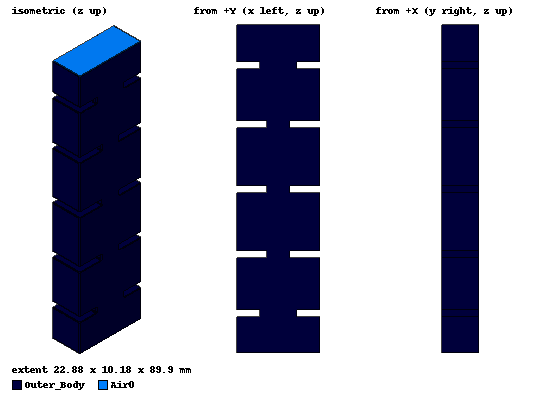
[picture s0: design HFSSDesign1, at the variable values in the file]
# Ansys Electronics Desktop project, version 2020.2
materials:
  vacuum: permittivity=1
  pec: conductivity=1e+30

design HFSSDesign1 (HFSS, DrivenModal, model units mm)
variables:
  a = 22.86mm
  b = 10.16mm
  l0 = 10mm
  l1 = 14.24mm
  l2 = 15.71mm
  l3 = 15.71mm
  l4 = 14.24mm
  l5 = 10mm
  t = 2mm
  th = 0.01mm
  d01 = 10.21mm
  d12 = 6.51mm
  d23 = 6.02mm
  d34 = 6.51mm
  d45 = 10.21mm
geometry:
  Outer_Body [pec] = box(corner=(-a/2-th, -b/2-th, 0mm), size=(a+2*th, b+2*th, l0+l1+l2+l3+l4+l5+5*t))
  Gap0 = box(corner=(-a/2, -b/2, 0mm), size=(a, b, l0))
  Gap1 = box(corner=(-a/2, -b/2, l0+t), size=(a, b, l1))
  Gap2 = box(corner=(-a/2, -b/2, l0+l1+2*t), size=(a, b, l2))
  Gap3 = box(corner=(-a/2, -b/2, l0+l1+l2+3*t), size=(a, b, l3))
  Gap4 = box(corner=(-a/2, -b/2, l0+l1+l2+l3+4*t), size=(a, b, l4))
  Gap5 = box(corner=(-a/2, -b/2, l0+l1+l2+l3+l4+5*t), size=(a, b, l5))
  Iris01 = box(corner=(-d01/2, -b/2, l0), size=(d01, b, t))
  Iris12 = box(corner=(-d12/2, -b/2, l0+l1+t), size=(d12, b, t))
  Iris23 = box(corner=(-d23/2, -b/2, l0+l1+l2+2*t), size=(d23, b, t))
  Iris34 = box(corner=(-d34/2, -b/2, l0+l1+l2+l3+3*t), size=(d34, b, t))
  Iris45 = box(corner=(-d45/2, -b/2, l0+l1+l2+l3+l4+4*t), size=(d45, b, t))
  SideGap01L = box(corner=(-a/2-th, -b/2-th, l0+th), size=((a-d01)/2, b+2*th, t-2*th))
  SideGap12L = box(corner=(-a/2-th, -b/2-th, l0+l1+t+th), size=((a-d12)/2, b+2*th, t-2*th))
  SideGap23L = box(corner=(-a/2-th, -b/2-th, l0+l1+l2+2*t+th), size=((a-d23)/2, b+2*th, t-2*th))
  SideGap34L = box(corner=(-a/2-th, -b/2-th, l0+l1+l2+l3+3*t+th), size=((a-d34)/2, b+2*th, t-2*th))
  SideGap45L = box(corner=(-a/2-th, -b/2-th, l0+l1+l2+l3+l4+4*t+th), size=((a-d45)/2, b+2*th, t-2*th))
  SideGap01R = box(corner=(a/2+th, -b/2-th, l0+th), size=(-(a-d01)/2, b+2*th, t-2*th))
  SideGap12R = box(corner=(a/2+th, -b/2-th, l0+l1+t+th), size=(-(a-d12)/2, b+2*th, t-2*th))
  SideGap23R = box(corner=(a/2+th, -b/2-th, l0+l1+l2+2*t+th), size=(-(a-d23)/2, b+2*th, t-2*th))
  SideGap34R = box(corner=(a/2+th, -b/2-th, l0+l1+l2+l3+3*t+th), size=(-(a-d34)/2, b+2*th, t-2*th))
  SideGap45R = box(corner=(a/2+th, -b/2-th, l0+l1+l2+l3+l4+4*t+th), size=(-(a-d45)/2, b+2*th, t-2*th))
  Outer_Body.subtract(Gap0..Gap5, Iris01, Iris12, Iris23, Iris34, Iris45)
  Outer_Body.subtract(SideGap01L, SideGap01R, SideGap12L, SideGap12R, SideGap23L, SideGap23R, SideGap34L, SideGap34R, SideGap45L, SideGap45R)
  Air0 [vacuum] = box(corner=(-a/2, -b/2, 0mm), size=(a, b, l0))
  Air1 = box(corner=(-a/2, -b/2, l0+t), size=(a, b, l1))
  Air2 = box(corner=(-a/2, -b/2, l0+l1+2*t), size=(a, b, l2))
  Air3 = box(corner=(-a/2, -b/2, l0+l1+l2+3*t), size=(a, b, l3))
  Air4 = box(corner=(-a/2, -b/2, l0+l1+l2+l3+4*t), size=(a, b, l4))
  Air5 = box(corner=(-a/2, -b/2, l0+l1+l2+l3+l4+5*t), size=(a, b, l5))
  Air01 = box(corner=(-d01/2, -b/2, l0), size=(d01, b, t))
  Air12 = box(corner=(-d12/2, -b/2, l0+l1+t), size=(d12, b, t))
  Air23 = box(corner=(-d23/2, -b/2, l0+l1+l2+2*t), size=(d23, b, t))
  Air34 = box(corner=(-d34/2, -b/2, l0+l1+l2+l3+3*t), size=(d34, b, t))
  Air45 = box(corner=(-d45/2, -b/2, l0+l1+l2+l3+l4+4*t), size=(d45, b, t))
  Air0.unite(Air1, Air01, Air2..Air5, Air12, Air23, Air34, Air45)
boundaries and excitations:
  1: Wave Port Faces=Air0.face(-z) NumModes=1 Modes{Mode1{CharImp=Zpi}}
  2: Wave Port Faces=Air0.face(1 of 6) NumModes=1 Modes{Mode1{CharImp=Zpi}}
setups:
  Setup1: HfssDrivenAuto AutoSolverSetting=Balanced Type=Interpolating
    sweep Sweep: 10GHz to 12GHz, 501 points;
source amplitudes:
  1:1: 1W 0deg
  2:1: 0W 0deg
